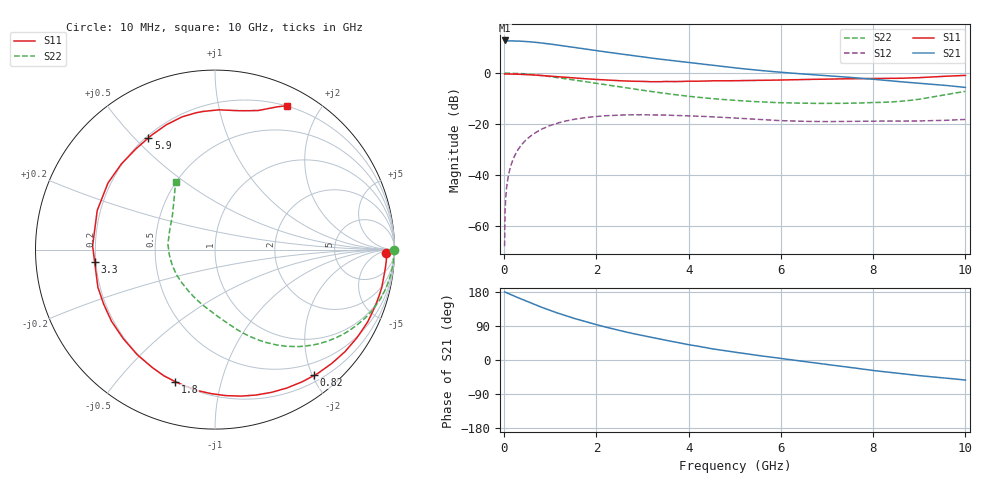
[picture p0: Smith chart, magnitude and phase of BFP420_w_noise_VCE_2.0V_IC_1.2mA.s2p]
! Infineon Technologies  Discrete & RF Semiconductors
! BFP420
! VCE =  2.0 V,  IC =  1.2 mA
! Common Emitter S-Parameters:  Jan 2016
# GHz  S  MA  R  50
!  f  S11  S21  S12  S22
! GHz  MAG  ANG  MAG  ANG  MAG  ANG  MAG  ANG
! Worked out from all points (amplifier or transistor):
!   233 points, 10 MHz to 10 GHz, reference 50 ohm
!   highest |S21| = 12.8 dB at 10 MHz (marker M1)
!   |S21| within 3 dB of that: start of sweep to 1.633 GHz
!   unconditionally stable (mu >= 1): 4.234 GHz to end of sweep
!   at 200 MHz: K = 0.01, MSG = 23.1 dB, |S12| = -33.6 dB
!   at 1.74 GHz: K = 0.30, MSG = 13.5 dB, |S12| = -17.6 dB
!   at 10 GHz: K = 1.32, MAG = 2.9 dB, |S12| = -18.2 dB
!   lowest NFmin = 0.53 dB at 900 MHz
!   S11 on the Smith chart (normalised r, x): 10 MHz: 37, -15; 820 MHz: 0.29, -2.03; 1.8 GHz: 0.20, -0.72; 3.3 GHz: 0.20, -0.05; 5.9 GHz: 0.21, +0.55; 10 GHz: 0.19, +1.61
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0.01  0.9547 -1.1  4.355 179.4  0.0004 140.7  0.9972 -0.1
0.015  0.9555 -1.2  4.282 179.4  0.0011 92.6  0.9969 -0.4
0.02  0.9563 -1.2  4.21 179.3  0.002 84.0  0.9967 -0.7
0.04  0.9566 -2.5  4.229 178.0  0.0042 86.9  0.9967 -1.4
0.08  0.9551 -5.1  4.255 175.9  0.0084 86.5  0.996 -2.9
0.145  0.9529 -9.2  4.268 172.6  0.0152 84.6  0.9937 -5.3
0.45  0.935 -28.6  4.169 156.9  0.0463 72.9  0.9626 -16.4
0.62  0.9175 -39.3  4.052 148.3  0.0624 66.3  0.9328 -22.2
0.82  0.8927 -51.7  3.877 138.8  0.0796 59.0  0.8914 -28.6
1.2  0.8418 -74.3  3.502 122.2  0.1066 46.2  0.8032 -39.7
1.68  0.7815 -100.6  3.04 103.9  0.1302 32.2  0.6934 -51.2
1.8  0.7685 -106.7  2.924 99.8  0.1344 29.1  0.6681 -53.7
2.2  0.7286 -126.5  2.601 86.8  0.1451 19.4  0.5887 -61.4
2.6  0.7014 -145.3  2.317 75.0  0.1505 10.7  0.5181 -68.5
3.3  0.6739 -174.0  1.909 57.3  0.15 -1.6  0.4202 -79.8
3.4  0.6765 -177.9  1.863 54.7  0.1496 -3.2  0.4082 -81.6
4  0.6915 161.6  1.611 40.4  0.145 -11.1  0.3492 -92.6
5.1  0.7068 135.7  1.235 18.9  0.1294 -21.0  0.2871 -114.8
5.9  0.7243 120.8  1.053 5.7  0.1176 -23.7  0.263 -132.3
6.8  0.7543 106.9  0.911 -8.6  0.1118 -23.4  0.2533 -153.9
8.4  0.7828 81.7  0.699 -33.3  0.1139 -24.5  0.2707 160.2
10  0.8979 63.3  0.522 -53.0  0.1227 -24.3  0.4376 120.1
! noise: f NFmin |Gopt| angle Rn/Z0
0.9  0.53  0.62  33  0.31
1.8  1.1  0.4  77  0.24
2.4  1.23  0.41  100  0.2
3  1.51  0.41  132  0.14
4  1.8  0.44  -175  0.09
5  2.23  0.45  -132  0.38
6  3.18  0.57  -116  0.44
